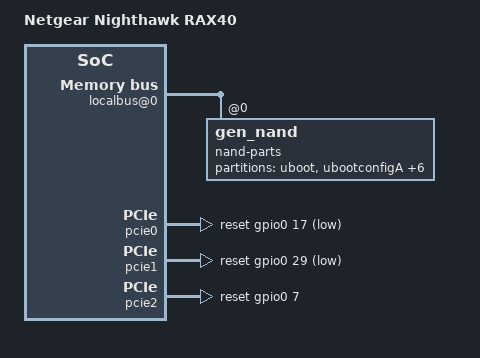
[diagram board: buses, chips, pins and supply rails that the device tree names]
#include "easy550_anywan.dts"
#include <dt-bindings/input/input.h>

/ {
	model = "Netgear Nighthawk RAX40";
//	compatible = "netgear,rax40", "lantiq,grx500", "lantiq,xrx500";
/*
	gpio-keys-polled {
		compatible = "gpio-keys-polled";
		#address-cells = <1>;
		#size-cells = <0>;
		poll-interval = <100>;

		reset {
			label = "reset";
			gpios = <&gpio0 0 1>;
			linux,code = <KEY_RESTART>;
		};
		wifi {
			label = "wifi";
			gpios = <&gpio1 4 1>;
			linux,code = <KEY_WPS_BUTTON>;
		};
		wps {
			label = "wps";
			gpios = <&gpio0 30 1>;
			linux,code = <KEY_WPS_BUTTON>;
		};
	};

	gpio-leds {
		compatible = "gpio-leds";

		wifi {
			label = "rax40:green:wifi";
			gpios = <&gpio1 10 GPIO_ACTIVE_HIGH>;
			default-state = "on";
		};
		wps {
			label = "rax40:green:wps";
			gpios = <&gpio0 31 GPIO_ACTIVE_HIGH>;
			default-state = "on";
		};
		power {
			label = "rax40:red:power";
			gpios = <&gpio0 10 GPIO_ACTIVE_HIGH>;
			default-state = "on";
		};
		inet {
			label = "rax40:orange:inet";
			gpios = <&gpio0 14 GPIO_ACTIVE_HIGH>;
			default-state = "on";
		};
	};
*/
	ssx4@16000000 {
		localbus@0 {
			ranges = <0 0 0x1c00000 0xfffff>;
			nand-parts@0 {
				compatible = "gen_nand","lantiq,nand-xway";
				lantiq,cs = <1>;
				bank-width = <2>;
				reg = <0 0x0 0x100000>;
				#address-cells = <1>;
				#size-cells = <1>;
				nand-ecc-mode = "soft";
				nand-ecc-algo = "bch";
				nand-ecc-strength = <4>;
				nand-ecc-step-size = <512>;
				partition@0 {
					label = "uboot";
					reg = <0x000000 0x100000>;
				};
				
				partition@100000 {
					label = "ubootconfigA";
					reg = <0x100000 0x40000>;
				};
				
				partition@140000 {
					label = "ubootconfigB";
					reg = <0x140000 0x40000>;
				};
				
				partition@180000 {
					label = "gphyfirmware";
					reg = <0x180000 0x40000>;
				};

				partition@1c0000 {
					label = "calibration";
					reg = <0x1c0000 0x100000>;
				};

				partition@2c0000 {
					label = "system_sw";
					reg = <0x2c0000 0xf600000>;
				};

				partition@f8c0000 {
					label = "vendor";
					reg = <0xf8c0000 0x6c0000>;
				};

				partition@ff80000 {
					label = "res";
					reg = <0xff80000 0x80000>;
				};
			};
		};
	};
};

&pcie0 {
	reset-gpios = <&gpio0 17 GPIO_ACTIVE_LOW>;
};

&pcie1 {
	reset-gpios = <&gpio0 29 GPIO_ACTIVE_LOW>;
};

&pcie2 {
	reset-gpios = <&gpio0 7 GPIO_ACTIVE_HIGH>;
};
